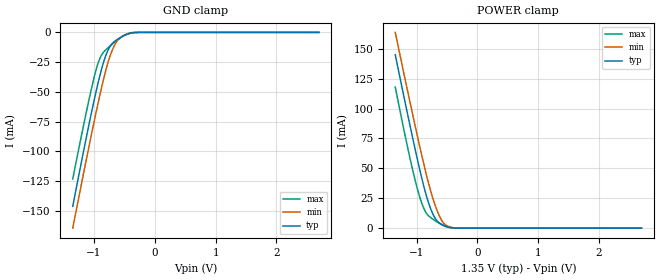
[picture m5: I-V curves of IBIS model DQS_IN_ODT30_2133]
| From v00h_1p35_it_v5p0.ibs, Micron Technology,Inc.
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| MODEL DQS_IN_ODT30_2133 (Data Strobe Input with 30ohm ODT, 2133Mbps)
[Model]   DQS_IN_ODT30_2133
Model_type   Input
Vinl = 545.000mV
Vinh = 805.000mV
|   typ   min   max
|C_comp   1.003pF   0.903pF   1.127pF
C_comp_power_clamp   0.5015pF   0.4515pF   0.5635pF
C_comp_gnd_clamp   0.5015pF   0.4515pF   0.5635pF
| Note: C_comp changes when the ODT circuit is enabled.
[Model Spec]
| Input threshold voltage corners
Vinl   0.5450V   0.5115V   0.5825V
Vinh   0.8050V   0.7715V   0.8425V
| Dynamic Overshoot Parameters from DDR3L Specification
D_overshoot_ampl_h   0.40   NA   NA
D_overshoot_ampl_l   0.40   NA   NA
D_overshoot_area_h   0.10n   NA   NA
D_overshoot_area_l   0.10n   NA   NA
[Receiver Thresholds]
|Vth   =  0.675V
|Vth_min  =  0.6615V
|Vth_max  =  0.6885V
|Vinh_ac  =  0.130V
|Vinh_dc  =  0.090V
|Vinl_ac  = -0.130V
|Vinl_dc  = -0.090V
|Tslew_ac =  5.000ns |Not specified, so set to high value
|Threshold_sensitivity = 0.50
|Reference_supply Power_clamp_ref
Vcross_low   = 0.545V
Vcross_high  = 0.805V
Vdiff_ac   = 260mV
Vdiff_dc   = 180mV
Tdiffslew_ac = 10.000ns |Not specified, so set to high value
[Voltage Range]   1.3500V   1.2830V   1.4250V
[POWER Clamp Reference]   1.3500V   1.2830V   1.4250V
| Junction Temperature (Ambient temp is 35C typ, 95C min, -40C max)
[Temperature Range]   50.0   110.0   -40.0
[Add Submodel]
| Submodel Name   Mode
30ohm_ODT_2133   Non-Driving
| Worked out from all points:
|   GND clamp passes 1 mA (typ) near -0.42 V on its own axis
|   POWER clamp passes 1 mA (typ) near -0.48 V on its own axis
[GND Clamp]
|   Voltage   I(typ)   I(min)   I(max)
-1.35V    -146.2mA   -164.5mA   -123.2mA
-1.085V   -77.86mA   -96.29mA   -57.13mA
-995mV    -56.27mA   -74.1mA    -37.08mA
-930mV    -41.77mA   -58.66mA   -25.36mA
-870mV    -29.77mA   -45.11mA   -18.48mA
-820mV    -21.43mA   -34.64mA   -15.32mA
-770mV    -15.04mA   -25.31mA   -12.93mA
-670mV    -7.931mA   -11.54mA   -8.571mA
-565mV    -4.295mA   -4.48mA    -4.495mA
-440mV    -1.295mA   -1.291mA   -1.012mA
-325mV    -145.2uA   -191.4uA   -48.03uA
2.7V      0A         0A         0A
[POWER Clamp]
|   Voltage   I(typ)   I(min)   I(max)
-1.35V    145.1mA    163.8mA    118mA
-1.2V     108.2mA    127.5mA    80.42mA
-1.07V    76.99mA    96.58mA    50.07mA
-985mV    57.37mA    76.89mA    32.7mA
-915mV    42.1mA     61.16mA    21.03mA
-835mV    26.61mA    44.11mA    12.31mA
-730mV    11.75mA    24.71mA    7.455mA
-625mV    4.412mA    10.26mA    3.983mA
-525mV    1.788mA    2.801mA    1.436mA
-435mV    528.8uA    725.1uA    261.2uA
-265mV    11.41uA    27.59uA    0A
2.7V      0A         0A         0A
